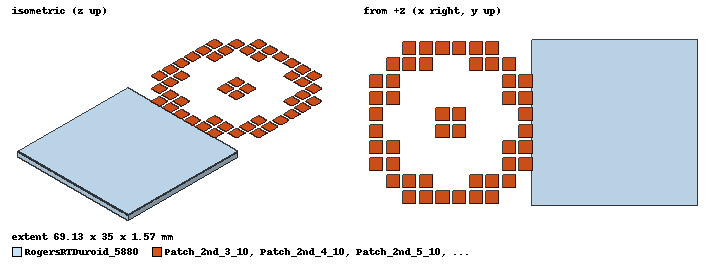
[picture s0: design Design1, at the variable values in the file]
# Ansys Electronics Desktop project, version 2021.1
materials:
  vacuum: permittivity=1

design Design1 (HFSS, DrivenModal, model units mm)
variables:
  X_sub = 3.5mm
  Y_sub = 3.5mm
  Z_sub = 1.57mm
  gap = 1mm
  Cop_T = 0.017mm
  m = 10
  n = 10
  X_offset = 3mm
  gap_2nd_1_3 = 0.37019mm
  gap_2nd_1_4 = 0.37019mm
  gap_2nd_1_5 = 0.37019mm
  gap_2nd_1_6 = 0.37019mm
  gap_2nd_1_7 = 0.37019mm
  gap_2nd_1_8 = 0.37019mm
  gap_2nd_2_2 = 0.37019mm
  gap_2nd_2_3 = 0.37019mm
  gap_2nd_2_4 = 0.37019mm
  gap_2nd_2_7 = 0.37019mm
  gap_2nd_2_8 = 0.37019mm
  gap_2nd_2_9 = 0.37019mm
  gap_2nd_3_1 = 0.37019mm
  gap_2nd_3_2 = 0.37019mm
  gap_2nd_3_9 = 0.37019mm
  gap_2nd_3_10 = 0.37019mm
  gap_2nd_4_1 = 0.37019mm
  gap_2nd_4_2 = 0.37019mm
  gap_2nd_4_9 = 0.37019mm
  gap_2nd_4_10 = 0.37019mm
  gap_2nd_5_1 = 0.37019mm
  gap_2nd_5_5 = 0.37019mm
  gap_2nd_5_6 = 0.37019mm
  gap_2nd_5_10 = 0.37019mm
  gap_2nd_6_1 = 0.37019mm
  gap_2nd_6_5 = 0.37019mm
  gap_2nd_6_6 = 0.37019mm
  gap_2nd_6_10 = 0.37019mm
  gap_2nd_7_1 = 0.37019mm
  gap_2nd_7_2 = 0.37019mm
  gap_2nd_7_9 = 0.37019mm
  gap_2nd_7_10 = 0.37019mm
  gap_2nd_8_1 = 0.37019mm
  gap_2nd_8_2 = 0.37019mm
  gap_2nd_8_9 = 0.37019mm
  gap_2nd_8_10 = 0.37019mm
  gap_2nd_9_2 = 0.37019mm
  gap_2nd_9_3 = 0.37019mm
  gap_2nd_9_4 = 0.37019mm
  gap_2nd_9_7 = 0.37019mm
  gap_2nd_9_8 = 0.37019mm
  gap_2nd_9_9 = 0.37019mm
  gap_2nd_10_3 = 0.37019mm
  gap_2nd_10_4 = 0.37019mm
  gap_2nd_10_5 = 0.37019mm
  gap_2nd_10_6 = 0.37019mm
  gap_2nd_10_7 = 0.37019mm
  gap_2nd_10_8 = 0.37019mm
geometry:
  RogersRTDuroid_5880 [vacuum] = box(corner=(0, 0, 0), size=(m*X_sub, n*Y_sub, Z_sub))
  Patch_2nd_1_3 = polyline(z=Z_sub, xy: (gap_2nd_1_3, gap_2nd_1_3) (X_sub-gap_2nd_1_3, gap_2nd_1_3) (X_sub-gap_2nd_1_3, Y_sub-gap_2nd_1_3) (gap_2nd_1_3, Y_sub-gap_2nd_1_3) (gap_2nd_1_3, gap_2nd_1_3), closed, covered)
  Patch_2nd_1_3.move(-X_offset-(1-1)*X_sub, 0+(3-1)*Y_sub, 0)
  Patch_2nd_1_4 = polyline(z=Z_sub, xy: (gap_2nd_1_4, gap_2nd_1_4) (X_sub-gap_2nd_1_4, gap_2nd_1_4) (X_sub-gap_2nd_1_4, Y_sub-gap_2nd_1_4) (gap_2nd_1_4, Y_sub-gap_2nd_1_4) (gap_2nd_1_4, gap_2nd_1_4), closed, covered)
  Patch_2nd_1_4.move(-X_offset-(1-1)*X_sub, 0+(4-1)*Y_sub, 0)
  Patch_2nd_1_5 = polyline(z=Z_sub, xy: (gap_2nd_1_5, gap_2nd_1_5) (X_sub-gap_2nd_1_5, gap_2nd_1_5) (X_sub-gap_2nd_1_5, Y_sub-gap_2nd_1_5) (gap_2nd_1_5, Y_sub-gap_2nd_1_5) (gap_2nd_1_5, gap_2nd_1_5), closed, covered)
  Patch_2nd_1_5.move(-X_offset-(1-1)*X_sub, 0+(5-1)*Y_sub, 0)
  Patch_2nd_1_6 = polyline(z=Z_sub, xy: (gap_2nd_1_6, gap_2nd_1_6) (X_sub-gap_2nd_1_6, gap_2nd_1_6) (X_sub-gap_2nd_1_6, Y_sub-gap_2nd_1_6) (gap_2nd_1_6, Y_sub-gap_2nd_1_6) (gap_2nd_1_6, gap_2nd_1_6), closed, covered)
  Patch_2nd_1_6.move(-X_offset-(1-1)*X_sub, 0+(6-1)*Y_sub, 0)
  Patch_2nd_1_7 = polyline(z=Z_sub, xy: (gap_2nd_1_7, gap_2nd_1_7) (X_sub-gap_2nd_1_7, gap_2nd_1_7) (X_sub-gap_2nd_1_7, Y_sub-gap_2nd_1_7) (gap_2nd_1_7, Y_sub-gap_2nd_1_7) (gap_2nd_1_7, gap_2nd_1_7), closed, covered)
  Patch_2nd_1_7.move(-X_offset-(1-1)*X_sub, 0+(7-1)*Y_sub, 0)
  Patch_2nd_1_8 = polyline(z=Z_sub, xy: (gap_2nd_1_8, gap_2nd_1_8) (X_sub-gap_2nd_1_8, gap_2nd_1_8) (X_sub-gap_2nd_1_8, Y_sub-gap_2nd_1_8) (gap_2nd_1_8, Y_sub-gap_2nd_1_8) (gap_2nd_1_8, gap_2nd_1_8), closed, covered)
  Patch_2nd_1_8.move(-X_offset-(1-1)*X_sub, 0+(8-1)*Y_sub, 0)
  Patch_2nd_2_2 = polyline(z=Z_sub, xy: (gap_2nd_2_2, gap_2nd_2_2) (X_sub-gap_2nd_2_2, gap_2nd_2_2) (X_sub-gap_2nd_2_2, Y_sub-gap_2nd_2_2) (gap_2nd_2_2, Y_sub-gap_2nd_2_2) (gap_2nd_2_2, gap_2nd_2_2), closed, covered)
  Patch_2nd_2_2.move(-X_offset-(2-1)*X_sub, 0+(2-1)*Y_sub, 0)
  Patch_2nd_2_3 = polyline(z=Z_sub, xy: (gap_2nd_2_3, gap_2nd_2_3) (X_sub-gap_2nd_2_3, gap_2nd_2_3) (X_sub-gap_2nd_2_3, Y_sub-gap_2nd_2_3) (gap_2nd_2_3, Y_sub-gap_2nd_2_3) (gap_2nd_2_3, gap_2nd_2_3), closed, covered)
  Patch_2nd_2_3.move(-X_offset-(2-1)*X_sub, 0+(3-1)*Y_sub, 0)
  Patch_2nd_2_4 = polyline(z=Z_sub, xy: (gap_2nd_2_4, gap_2nd_2_4) (X_sub-gap_2nd_2_4, gap_2nd_2_4) (X_sub-gap_2nd_2_4, Y_sub-gap_2nd_2_4) (gap_2nd_2_4, Y_sub-gap_2nd_2_4) (gap_2nd_2_4, gap_2nd_2_4), closed, covered)
  Patch_2nd_2_4.move(-X_offset-(2-1)*X_sub, 0+(4-1)*Y_sub, 0)
  Patch_2nd_2_7 = polyline(z=Z_sub, xy: (gap_2nd_2_7, gap_2nd_2_7) (X_sub-gap_2nd_2_7, gap_2nd_2_7) (X_sub-gap_2nd_2_7, Y_sub-gap_2nd_2_7) (gap_2nd_2_7, Y_sub-gap_2nd_2_7) (gap_2nd_2_7, gap_2nd_2_7), closed, covered)
  Patch_2nd_2_7.move(-X_offset-(2-1)*X_sub, 0+(7-1)*Y_sub, 0)
  Patch_2nd_2_8 = polyline(z=Z_sub, xy: (gap_2nd_2_8, gap_2nd_2_8) (X_sub-gap_2nd_2_8, gap_2nd_2_8) (X_sub-gap_2nd_2_8, Y_sub-gap_2nd_2_8) (gap_2nd_2_8, Y_sub-gap_2nd_2_8) (gap_2nd_2_8, gap_2nd_2_8), closed, covered)
  Patch_2nd_2_8.move(-X_offset-(2-1)*X_sub, 0+(8-1)*Y_sub, 0)
  Patch_2nd_2_9 = polyline(z=Z_sub, xy: (gap_2nd_2_9, gap_2nd_2_9) (X_sub-gap_2nd_2_9, gap_2nd_2_9) (X_sub-gap_2nd_2_9, Y_sub-gap_2nd_2_9) (gap_2nd_2_9, Y_sub-gap_2nd_2_9) (gap_2nd_2_9, gap_2nd_2_9), closed, covered)
  Patch_2nd_2_9.move(-X_offset-(2-1)*X_sub, 0+(9-1)*Y_sub, 0)
  Patch_2nd_3_1 = polyline(z=Z_sub, xy: (gap_2nd_3_1, gap_2nd_3_1) (X_sub-gap_2nd_3_1, gap_2nd_3_1) (X_sub-gap_2nd_3_1, Y_sub-gap_2nd_3_1) (gap_2nd_3_1, Y_sub-gap_2nd_3_1) (gap_2nd_3_1, gap_2nd_3_1), closed, covered)
  Patch_2nd_3_1.move(-X_offset-(3-1)*X_sub, 0+(1-1)*Y_sub, 0)
  Patch_2nd_3_2 = polyline(z=Z_sub, xy: (gap_2nd_3_2, gap_2nd_3_2) (X_sub-gap_2nd_3_2, gap_2nd_3_2) (X_sub-gap_2nd_3_2, Y_sub-gap_2nd_3_2) (gap_2nd_3_2, Y_sub-gap_2nd_3_2) (gap_2nd_3_2, gap_2nd_3_2), closed, covered)
  Patch_2nd_3_2.move(-X_offset-(3-1)*X_sub, 0+(2-1)*Y_sub, 0)
  Patch_2nd_3_9 = polyline(z=Z_sub, xy: (gap_2nd_3_9, gap_2nd_3_9) (X_sub-gap_2nd_3_9, gap_2nd_3_9) (X_sub-gap_2nd_3_9, Y_sub-gap_2nd_3_9) (gap_2nd_3_9, Y_sub-gap_2nd_3_9) (gap_2nd_3_9, gap_2nd_3_9), closed, covered)
  Patch_2nd_3_9.move(-X_offset-(3-1)*X_sub, 0+(9-1)*Y_sub, 0)
  Patch_2nd_3_10 = polyline(z=Z_sub, xy: (gap_2nd_3_10, gap_2nd_3_10) (X_sub-gap_2nd_3_10, gap_2nd_3_10) (X_sub-gap_2nd_3_10, Y_sub-gap_2nd_3_10) (gap_2nd_3_10, Y_sub-gap_2nd_3_10) (gap_2nd_3_10, gap_2nd_3_10), closed, covered)
  Patch_2nd_3_10.move(-X_offset-(3-1)*X_sub, 0+(10-1)*Y_sub, 0)
  Patch_2nd_4_1 = polyline(z=Z_sub, xy: (gap_2nd_4_1, gap_2nd_4_1) (X_sub-gap_2nd_4_1, gap_2nd_4_1) (X_sub-gap_2nd_4_1, Y_sub-gap_2nd_4_1) (gap_2nd_4_1, Y_sub-gap_2nd_4_1) (gap_2nd_4_1, gap_2nd_4_1), closed, covered)
  Patch_2nd_4_1.move(-X_offset-(4-1)*X_sub, 0+(1-1)*Y_sub, 0)
  Patch_2nd_4_2 = polyline(z=Z_sub, xy: (gap_2nd_4_2, gap_2nd_4_2) (X_sub-gap_2nd_4_2, gap_2nd_4_2) (X_sub-gap_2nd_4_2, Y_sub-gap_2nd_4_2) (gap_2nd_4_2, Y_sub-gap_2nd_4_2) (gap_2nd_4_2, gap_2nd_4_2), closed, covered)
  Patch_2nd_4_2.move(-X_offset-(4-1)*X_sub, 0+(2-1)*Y_sub, 0)
  Patch_2nd_4_9 = polyline(z=Z_sub, xy: (gap_2nd_4_9, gap_2nd_4_9) (X_sub-gap_2nd_4_9, gap_2nd_4_9) (X_sub-gap_2nd_4_9, Y_sub-gap_2nd_4_9) (gap_2nd_4_9, Y_sub-gap_2nd_4_9) (gap_2nd_4_9, gap_2nd_4_9), closed, covered)
  Patch_2nd_4_9.move(-X_offset-(4-1)*X_sub, 0+(9-1)*Y_sub, 0)
  Patch_2nd_4_10 = polyline(z=Z_sub, xy: (gap_2nd_4_10, gap_2nd_4_10) (X_sub-gap_2nd_4_10, gap_2nd_4_10) (X_sub-gap_2nd_4_10, Y_sub-gap_2nd_4_10) (gap_2nd_4_10, Y_sub-gap_2nd_4_10) (gap_2nd_4_10, gap_2nd_4_10), closed, covered)
  Patch_2nd_4_10.move(-X_offset-(4-1)*X_sub, 0+(10-1)*Y_sub, 0)
  Patch_2nd_5_1 = polyline(z=Z_sub, xy: (gap_2nd_5_1, gap_2nd_5_1) (X_sub-gap_2nd_5_1, gap_2nd_5_1) (X_sub-gap_2nd_5_1, Y_sub-gap_2nd_5_1) (gap_2nd_5_1, Y_sub-gap_2nd_5_1) (gap_2nd_5_1, gap_2nd_5_1), closed, covered)
  Patch_2nd_5_1.move(-X_offset-(5-1)*X_sub, 0+(1-1)*Y_sub, 0)
  Patch_2nd_5_5 = polyline(z=Z_sub, xy: (gap_2nd_5_5, gap_2nd_5_5) (X_sub-gap_2nd_5_5, gap_2nd_5_5) (X_sub-gap_2nd_5_5, Y_sub-gap_2nd_5_5) (gap_2nd_5_5, Y_sub-gap_2nd_5_5) (gap_2nd_5_5, gap_2nd_5_5), closed, covered)
  Patch_2nd_5_5.move(-X_offset-(5-1)*X_sub, 0+(5-1)*Y_sub, 0)
  Patch_2nd_5_6 = polyline(z=Z_sub, xy: (gap_2nd_5_6, gap_2nd_5_6) (X_sub-gap_2nd_5_6, gap_2nd_5_6) (X_sub-gap_2nd_5_6, Y_sub-gap_2nd_5_6) (gap_2nd_5_6, Y_sub-gap_2nd_5_6) (gap_2nd_5_6, gap_2nd_5_6), closed, covered)
  Patch_2nd_5_6.move(-X_offset-(5-1)*X_sub, 0+(6-1)*Y_sub, 0)
  Patch_2nd_5_10 = polyline(z=Z_sub, xy: (gap_2nd_5_10, gap_2nd_5_10) (X_sub-gap_2nd_5_10, gap_2nd_5_10) (X_sub-gap_2nd_5_10, Y_sub-gap_2nd_5_10) (gap_2nd_5_10, Y_sub-gap_2nd_5_10) (gap_2nd_5_10, gap_2nd_5_10), closed, covered)
  Patch_2nd_5_10.move(-X_offset-(5-1)*X_sub, 0+(10-1)*Y_sub, 0)
  Patch_2nd_6_1 = polyline(z=Z_sub, xy: (gap_2nd_6_1, gap_2nd_6_1) (X_sub-gap_2nd_6_1, gap_2nd_6_1) (X_sub-gap_2nd_6_1, Y_sub-gap_2nd_6_1) (gap_2nd_6_1, Y_sub-gap_2nd_6_1) (gap_2nd_6_1, gap_2nd_6_1), closed, covered)
  Patch_2nd_6_1.move(-X_offset-(6-1)*X_sub, 0+(1-1)*Y_sub, 0)
  Patch_2nd_6_5 = polyline(z=Z_sub, xy: (gap_2nd_6_5, gap_2nd_6_5) (X_sub-gap_2nd_6_5, gap_2nd_6_5) (X_sub-gap_2nd_6_5, Y_sub-gap_2nd_6_5) (gap_2nd_6_5, Y_sub-gap_2nd_6_5) (gap_2nd_6_5, gap_2nd_6_5), closed, covered)
  Patch_2nd_6_5.move(-X_offset-(6-1)*X_sub, 0+(5-1)*Y_sub, 0)
  Patch_2nd_6_6 = polyline(z=Z_sub, xy: (gap_2nd_6_6, gap_2nd_6_6) (X_sub-gap_2nd_6_6, gap_2nd_6_6) (X_sub-gap_2nd_6_6, Y_sub-gap_2nd_6_6) (gap_2nd_6_6, Y_sub-gap_2nd_6_6) (gap_2nd_6_6, gap_2nd_6_6), closed, covered)
  Patch_2nd_6_6.move(-X_offset-(6-1)*X_sub, 0+(6-1)*Y_sub, 0)
  Patch_2nd_6_10 = polyline(z=Z_sub, xy: (gap_2nd_6_10, gap_2nd_6_10) (X_sub-gap_2nd_6_10, gap_2nd_6_10) (X_sub-gap_2nd_6_10, Y_sub-gap_2nd_6_10) (gap_2nd_6_10, Y_sub-gap_2nd_6_10) (gap_2nd_6_10, gap_2nd_6_10), closed, covered)
  Patch_2nd_6_10.move(-X_offset-(6-1)*X_sub, 0+(10-1)*Y_sub, 0)
  Patch_2nd_7_1 = polyline(z=Z_sub, xy: (gap_2nd_7_1, gap_2nd_7_1) (X_sub-gap_2nd_7_1, gap_2nd_7_1) (X_sub-gap_2nd_7_1, Y_sub-gap_2nd_7_1) (gap_2nd_7_1, Y_sub-gap_2nd_7_1) (gap_2nd_7_1, gap_2nd_7_1), closed, covered)
  Patch_2nd_7_1.move(-X_offset-(7-1)*X_sub, 0+(1-1)*Y_sub, 0)
  Patch_2nd_7_2 = polyline(z=Z_sub, xy: (gap_2nd_7_2, gap_2nd_7_2) (X_sub-gap_2nd_7_2, gap_2nd_7_2) (X_sub-gap_2nd_7_2, Y_sub-gap_2nd_7_2) (gap_2nd_7_2, Y_sub-gap_2nd_7_2) (gap_2nd_7_2, gap_2nd_7_2), closed, covered)
  Patch_2nd_7_2.move(-X_offset-(7-1)*X_sub, 0+(2-1)*Y_sub, 0)
  Patch_2nd_7_9 = polyline(z=Z_sub, xy: (gap_2nd_7_9, gap_2nd_7_9) (X_sub-gap_2nd_7_9, gap_2nd_7_9) (X_sub-gap_2nd_7_9, Y_sub-gap_2nd_7_9) (gap_2nd_7_9, Y_sub-gap_2nd_7_9) (gap_2nd_7_9, gap_2nd_7_9), closed, covered)
  Patch_2nd_7_9.move(-X_offset-(7-1)*X_sub, 0+(9-1)*Y_sub, 0)
  Patch_2nd_7_10 = polyline(z=Z_sub, xy: (gap_2nd_7_10, gap_2nd_7_10) (X_sub-gap_2nd_7_10, gap_2nd_7_10) (X_sub-gap_2nd_7_10, Y_sub-gap_2nd_7_10) (gap_2nd_7_10, Y_sub-gap_2nd_7_10) (gap_2nd_7_10, gap_2nd_7_10), closed, covered)
  Patch_2nd_7_10.move(-X_offset-(7-1)*X_sub, 0+(10-1)*Y_sub, 0)
  Patch_2nd_8_1 = polyline(z=Z_sub, xy: (gap_2nd_8_1, gap_2nd_8_1) (X_sub-gap_2nd_8_1, gap_2nd_8_1) (X_sub-gap_2nd_8_1, Y_sub-gap_2nd_8_1) (gap_2nd_8_1, Y_sub-gap_2nd_8_1) (gap_2nd_8_1, gap_2nd_8_1), closed, covered)
  Patch_2nd_8_1.move(-X_offset-(8-1)*X_sub, 0+(1-1)*Y_sub, 0)
  Patch_2nd_8_2 = polyline(z=Z_sub, xy: (gap_2nd_8_2, gap_2nd_8_2) (X_sub-gap_2nd_8_2, gap_2nd_8_2) (X_sub-gap_2nd_8_2, Y_sub-gap_2nd_8_2) (gap_2nd_8_2, Y_sub-gap_2nd_8_2) (gap_2nd_8_2, gap_2nd_8_2), closed, covered)
  Patch_2nd_8_2.move(-X_offset-(8-1)*X_sub, 0+(2-1)*Y_sub, 0)
  Patch_2nd_8_9 = polyline(z=Z_sub, xy: (gap_2nd_8_9, gap_2nd_8_9) (X_sub-gap_2nd_8_9, gap_2nd_8_9) (X_sub-gap_2nd_8_9, Y_sub-gap_2nd_8_9) (gap_2nd_8_9, Y_sub-gap_2nd_8_9) (gap_2nd_8_9, gap_2nd_8_9), closed, covered)
  Patch_2nd_8_9.move(-X_offset-(8-1)*X_sub, 0+(9-1)*Y_sub, 0)
  Patch_2nd_8_10 = polyline(z=Z_sub, xy: (gap_2nd_8_10, gap_2nd_8_10) (X_sub-gap_2nd_8_10, gap_2nd_8_10) (X_sub-gap_2nd_8_10, Y_sub-gap_2nd_8_10) (gap_2nd_8_10, Y_sub-gap_2nd_8_10) (gap_2nd_8_10, gap_2nd_8_10), closed, covered)
  Patch_2nd_8_10.move(-X_offset-(8-1)*X_sub, 0+(10-1)*Y_sub, 0)
  Patch_2nd_9_2 = polyline(z=Z_sub, xy: (gap_2nd_9_2, gap_2nd_9_2) (X_sub-gap_2nd_9_2, gap_2nd_9_2) (X_sub-gap_2nd_9_2, Y_sub-gap_2nd_9_2) (gap_2nd_9_2, Y_sub-gap_2nd_9_2) (gap_2nd_9_2, gap_2nd_9_2), closed, covered)
  Patch_2nd_9_2.move(-X_offset-(9-1)*X_sub, 0+(2-1)*Y_sub, 0)
  Patch_2nd_9_3 = polyline(z=Z_sub, xy: (gap_2nd_9_3, gap_2nd_9_3) (X_sub-gap_2nd_9_3, gap_2nd_9_3) (X_sub-gap_2nd_9_3, Y_sub-gap_2nd_9_3) (gap_2nd_9_3, Y_sub-gap_2nd_9_3) (gap_2nd_9_3, gap_2nd_9_3), closed, covered)
  Patch_2nd_9_3.move(-X_offset-(9-1)*X_sub, 0+(3-1)*Y_sub, 0)
  Patch_2nd_9_4 = polyline(z=Z_sub, xy: (gap_2nd_9_4, gap_2nd_9_4) (X_sub-gap_2nd_9_4, gap_2nd_9_4) (X_sub-gap_2nd_9_4, Y_sub-gap_2nd_9_4) (gap_2nd_9_4, Y_sub-gap_2nd_9_4) (gap_2nd_9_4, gap_2nd_9_4), closed, covered)
  Patch_2nd_9_4.move(-X_offset-(9-1)*X_sub, 0+(4-1)*Y_sub, 0)
  Patch_2nd_9_7 = polyline(z=Z_sub, xy: (gap_2nd_9_7, gap_2nd_9_7) (X_sub-gap_2nd_9_7, gap_2nd_9_7) (X_sub-gap_2nd_9_7, Y_sub-gap_2nd_9_7) (gap_2nd_9_7, Y_sub-gap_2nd_9_7) (gap_2nd_9_7, gap_2nd_9_7), closed, covered)
  Patch_2nd_9_7.move(-X_offset-(9-1)*X_sub, 0+(7-1)*Y_sub, 0)
  Patch_2nd_9_8 = polyline(z=Z_sub, xy: (gap_2nd_9_8, gap_2nd_9_8) (X_sub-gap_2nd_9_8, gap_2nd_9_8) (X_sub-gap_2nd_9_8, Y_sub-gap_2nd_9_8) (gap_2nd_9_8, Y_sub-gap_2nd_9_8) (gap_2nd_9_8, gap_2nd_9_8), closed, covered)
  Patch_2nd_9_8.move(-X_offset-(9-1)*X_sub, 0+(8-1)*Y_sub, 0)
  Patch_2nd_9_9 = polyline(z=Z_sub, xy: (gap_2nd_9_9, gap_2nd_9_9) (X_sub-gap_2nd_9_9, gap_2nd_9_9) (X_sub-gap_2nd_9_9, Y_sub-gap_2nd_9_9) (gap_2nd_9_9, Y_sub-gap_2nd_9_9) (gap_2nd_9_9, gap_2nd_9_9), closed, covered)
  Patch_2nd_9_9.move(-X_offset-(9-1)*X_sub, 0+(9-1)*Y_sub, 0)
  Patch_2nd_10_3 = polyline(z=Z_sub, xy: (gap_2nd_10_3, gap_2nd_10_3) (X_sub-gap_2nd_10_3, gap_2nd_10_3) (X_sub-gap_2nd_10_3, Y_sub-gap_2nd_10_3) (gap_2nd_10_3, Y_sub-gap_2nd_10_3) (gap_2nd_10_3, gap_2nd_10_3), closed, covered)
  Patch_2nd_10_3.move(-X_offset-(10-1)*X_sub, 0+(3-1)*Y_sub, 0)
  Patch_2nd_10_4 = polyline(z=Z_sub, xy: (gap_2nd_10_4, gap_2nd_10_4) (X_sub-gap_2nd_10_4, gap_2nd_10_4) (X_sub-gap_2nd_10_4, Y_sub-gap_2nd_10_4) (gap_2nd_10_4, Y_sub-gap_2nd_10_4) (gap_2nd_10_4, gap_2nd_10_4), closed, covered)
  Patch_2nd_10_4.move(-X_offset-(10-1)*X_sub, 0+(4-1)*Y_sub, 0)
  Patch_2nd_10_5 = polyline(z=Z_sub, xy: (gap_2nd_10_5, gap_2nd_10_5) (X_sub-gap_2nd_10_5, gap_2nd_10_5) (X_sub-gap_2nd_10_5, Y_sub-gap_2nd_10_5) (gap_2nd_10_5, Y_sub-gap_2nd_10_5) (gap_2nd_10_5, gap_2nd_10_5), closed, covered)
  Patch_2nd_10_5.move(-X_offset-(10-1)*X_sub, 0+(5-1)*Y_sub, 0)
  Patch_2nd_10_6 = polyline(z=Z_sub, xy: (gap_2nd_10_6, gap_2nd_10_6) (X_sub-gap_2nd_10_6, gap_2nd_10_6) (X_sub-gap_2nd_10_6, Y_sub-gap_2nd_10_6) (gap_2nd_10_6, Y_sub-gap_2nd_10_6) (gap_2nd_10_6, gap_2nd_10_6), closed, covered)
  Patch_2nd_10_6.move(-X_offset-(10-1)*X_sub, 0+(6-1)*Y_sub, 0)
  Patch_2nd_10_7 = polyline(z=Z_sub, xy: (gap_2nd_10_7, gap_2nd_10_7) (X_sub-gap_2nd_10_7, gap_2nd_10_7) (X_sub-gap_2nd_10_7, Y_sub-gap_2nd_10_7) (gap_2nd_10_7, Y_sub-gap_2nd_10_7) (gap_2nd_10_7, gap_2nd_10_7), closed, covered)
  Patch_2nd_10_7.move(-X_offset-(10-1)*X_sub, 0+(7-1)*Y_sub, 0)
  Patch_2nd_10_8 = polyline(z=Z_sub, xy: (gap_2nd_10_8, gap_2nd_10_8) (X_sub-gap_2nd_10_8, gap_2nd_10_8) (X_sub-gap_2nd_10_8, Y_sub-gap_2nd_10_8) (gap_2nd_10_8, Y_sub-gap_2nd_10_8) (gap_2nd_10_8, gap_2nd_10_8), closed, covered)
  Patch_2nd_10_8.move(-X_offset-(10-1)*X_sub, 0+(8-1)*Y_sub, 0)
